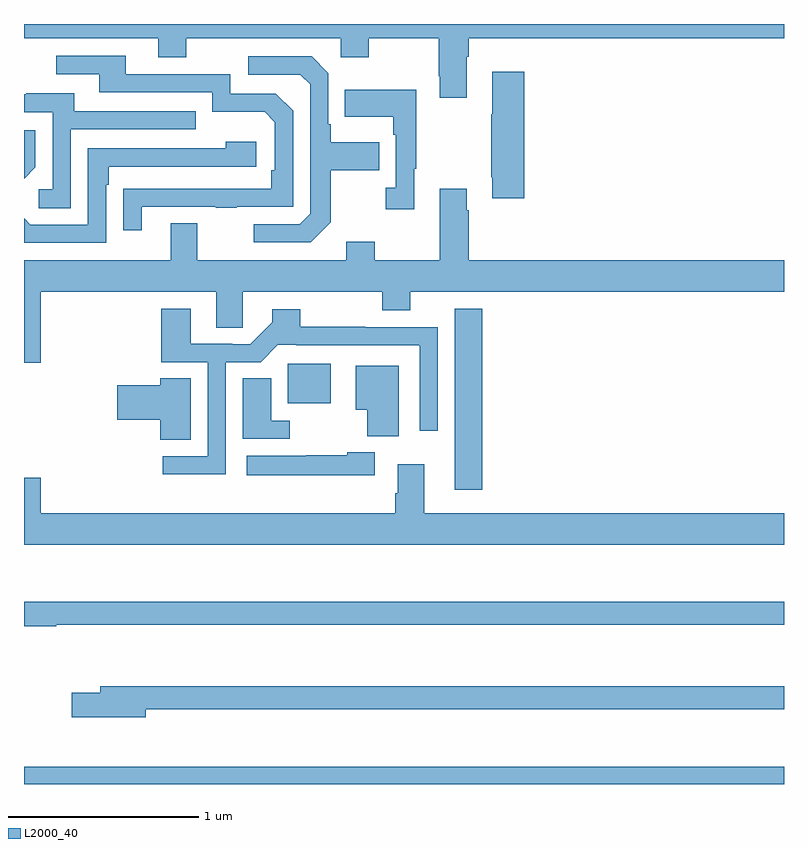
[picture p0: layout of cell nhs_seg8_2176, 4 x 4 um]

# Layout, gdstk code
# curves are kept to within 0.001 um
import gdstk
lib = gdstk.Library(unit=1e-6, precision=1e-09)
def R(c, l, rs):  # rectangles x0, y0, x1, y1
    for r in rs: c.add(gdstk.rectangle(r[:2], r[2:], *l))
def P(c, l, *ps):  # polygons
    for p in ps: c.add(gdstk.Polygon(p, *l))
L2000_40 = (2000, 40)

nhs_seg8_2176 = lib.new_cell('nhs_seg8_2176')
R(nhs_seg8_2176, L2000_40, [(249,1121.9,253,1121.992), (251.267,1123.449,251.411,1124.401), (250.388,1123.904,250.615,1124.113)])
P(nhs_seg8_2176, L2000_40, [(251.329,1125.728),(251.342,1125.728),(251.342,1125.824),(253,1125.824),(253,1125.9),(249,1125.9),(249,1125.824),(249.707,1125.824),(249.707,1125.725),(249.855,1125.725),(249.855,1125.824),(250.668,1125.824),(250.668,1125.725),(250.815,1125.725),(250.815,1125.824),(251.182,1125.824),(251.182,1125.625),(251.189,1125.625),(251.189,1125.513),(251.329,1125.513)],
  [(249.619,1124.937),(250.009,1124.937),(250.009,1124.932),(250.121,1124.932),(250.121,1124.937),(250.416,1124.937),(250.416,1125.444),(250.326,1125.534),(250.086,1125.534),(250.086,1125.636),(249.535,1125.636),(249.535,1125.732),(249.171,1125.732),(249.171,1125.636),(249.395,1125.636),(249.395,1125.54),(249.99,1125.54),(249.99,1125.437),(250.267,1125.437),(250.32,1125.384),(250.32,1125.13),(250.3,1125.13),(250.3,1125.033),(249.523,1125.032),(249.523,1124.814),(249.619,1124.814)],
  [(250.615,1124.857),(250.615,1125.13),(250.871,1125.13),(250.871,1125.277),(250.615,1125.277),(250.615,1125.373),(250.602,1125.373),(250.602,1125.642),(250.515,1125.729),(250.179,1125.729),(250.179,1125.633),(250.455,1125.633),(250.506,1125.582),(250.506,1124.901),(250.452,1124.847),(250.209,1124.847),(250.209,1124.751),(250.509,1124.751)],
  [(251.633,1125.649),(251.465,1125.649),(251.465,1125.425),(251.458,1125.425),(251.458,1125.094),(251.465,1125.094),(251.465,1124.982),(251.633,1124.982)],
  [(251.053,1125.137),(251.065,1125.137),(251.065,1125.553),(250.687,1125.553),(250.687,1125.413),(250.944,1125.413),(250.944,1125.317),(250.956,1125.317),(250.956,1125.038),(250.905,1125.038),(250.905,1124.925),(251.053,1124.925)],
  [(249.246,1125.345),(249.905,1125.345),(249.905,1125.441),(249.265,1125.441),(249.265,1125.535),(249.011,1125.535),(249.011,1125.531),(249,1125.531),(249,1125.435),(249.15,1125.435),(249.15,1125.03),(249.078,1125.03),(249.078,1124.929),(249.246,1124.929)],
  [(249.06,1125.146),(249.06,1125.34),(249,1125.34),(249,1125.086)],
  [(249.432,1125.053),(249.445,1125.053),(249.445,1125.15),(250.222,1125.15),(250.222,1125.28),(250.061,1125.28),(250.061,1125.246),(249.336,1125.246),(249.336,1124.844),(249.033,1124.844),(249,1124.877),(249,1124.748),(249.432,1124.748)],
  [(249.088,1124.492),(250.013,1124.492),(250.013,1124.302),(250.152,1124.302),(250.152,1124.492),(250.885,1124.492),(250.885,1124.393),(251.032,1124.393),(251.032,1124.492),(253,1124.492),(253,1124.656),(251.342,1124.656),(251.342,1124.921),(251.329,1124.921),(251.329,1125.034),(251.189,1125.034),(251.189,1124.656),(250.845,1124.656),(250.845,1124.755),(250.697,1124.755),(250.697,1124.656),(249.913,1124.656),(249.913,1124.851),(249.773,1124.851),(249.773,1124.656),(249,1124.656),(249,1124.118),(249.088,1124.118)],
  [(250.062,1124.121),(250.246,1124.121),(250.336,1124.211),(250.432,1124.211),(250.432,1124.208),(251.081,1124.208),(251.082,1123.758),(251.178,1123.758),(251.178,1124.304),(250.796,1124.304),(250.796,1124.306),(250.455,1124.306),(250.455,1124.398),(250.307,1124.398),(250.307,1124.33),(250.191,1124.214),(250.097,1124.214),(250.097,1124.217),(249.877,1124.217),(249.877,1124.401),(249.722,1124.401),(249.722,1124.121),(249.966,1124.121),(249.966,1123.626),(249.729,1123.626),(249.729,1123.529),(250.062,1123.529)],
  [(250.972,1124.101),(250.745,1124.101),(250.745,1123.871),(250.807,1123.871),(250.807,1123.73),(250.972,1123.73)],
  [(250.399,1123.812),(250.3,1123.812),(250.3,1124.036),(250.151,1124.036),(250.151,1123.716),(250.399,1123.716)],
  [(249.877,1124.036),(249.716,1124.036),(249.716,1124),(249.492,1124),(249.492,1123.817),(249.716,1123.817),(249.716,1123.711),(249.877,1123.711)],
  [(250.846,1123.645),(250.701,1123.645),(250.701,1123.63),(250.486,1123.63),(250.486,1123.627),(250.173,1123.627),(250.173,1123.526),(250.846,1123.526)],
  [(253,1123.324),(251.107,1123.324),(251.107,1123.582),(250.967,1123.582),(250.967,1123.43),(250.955,1123.43),(250.955,1123.324),(249.088,1123.324),(249.088,1123.513),(249,1123.513),(249,1123.16),(253,1123.16)],
  [(249.17,1122.738),(253,1122.738),(253,1122.859),(249,1122.859),(249,1122.73),(249.17,1122.73)],
  [(249.64,1122.294),(253,1122.294),(253,1122.415),(249.401,1122.415),(249.401,1122.381),(249.252,1122.381),(249.252,1122.251),(249.64,1122.251)])

lib.write_gds('nhs_seg8_2176.gds')
